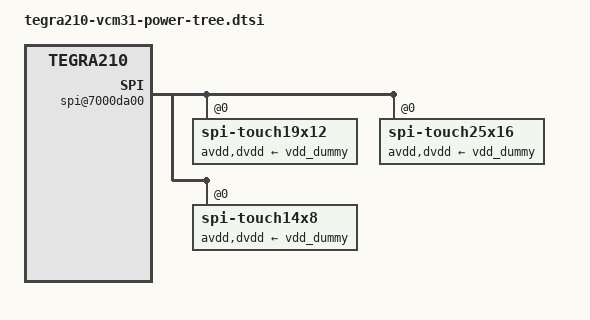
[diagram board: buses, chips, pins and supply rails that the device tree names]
/*
 * Copyright (c) 2015, NVIDIA CORPORATION.  All rights reserved.
 *
 * This program is free software; you can redistribute it and/or modify
 * it under the terms of the GNU General Public License as published by
 * the Free Software Foundation; either version 2 of the License, or
 * (at your option) any later version.
 *
 * This program is distributed in the hope that it will be useful, but WITHOUT
 * ANY WARRANTY; without even the implied warranty of MERCHANTABILITY or
 * FITNESS FOR A PARTICULAR PURPOSE.  See the GNU General Public License for
 * more details.
 *
 * You should have received a copy of the GNU General Public License along
 * along with this program. If not, see <http://www.gnu.org/licenses/>.
 */

#include "tegra210-vcm31-pmic.dtsi"

/ {

	efuse@7000f800 {
		vpp_fuse-supply = <&vdd_dummy>;
	};

	host1x {
		/* tegradc.0 */
		dc@54200000 {
			avdd_hdmi-supply = <&vdd_dummy>;
			avdd_hdmi_pll-supply = <&vdd_dummy>;
			vdd_hdmi_5v0-supply = <&vdd_dummy>;
			avdd_dsi_csi-supply = <&vdd_dummy>;
		};

		vi {
			avdd_dsi_csi-supply = <&vdd_dummy>;
		};
	};

	sound {
		ldoen-supply = <&vdd_dummy>;
		spkvdd-supply = <&vdd_dummy>;
		dbvdd-supply = <&vdd_dummy>;
		dmicvdd-supply = <&vdd_dummy>;
	};

	xusb@70090000 {
		usb_vbus0-supply = <&vdd_dummy>;
		usb_vbus1-supply = <&vdd_dummy>;
		usb_vbus2-supply = <&vdd_dummy>;
		usb_vbus3-supply = <&vdd_dummy>;
		hvdd_usb-supply = <&vdd_dummy>;
		avdd_pll_utmip-supply = <&vdd_dummy>;
		vddio_hsic-supply = <&vdd_dummy>;
		avddio_usb-supply = <&vdd_dummy>;
		dvdd_sata-supply = <&vdd_dummy>;
		avddio_pll_uerefe-supply = <&vdd_dummy>;
	};

	xudc@700d0000 {
		usb_vbus0-supply = <&vdd_dummy>;
		hvdd_usb-supply = <&vdd_dummy>;
		avdd_pll_utmip-supply = <&vdd_dummy>;
		avddio_usb-supply = <&vdd_dummy>;
		avddio_pll_uerefe-supply = <&vdd_dummy>;
	};

	xotg {
		usb_vbus-supply = <&vdd_dummy>;
	};

	xusb_padctl {
		avdd_pll_uerefe-supply = <&spmic_ldo7>;
		hvdd_pex_pll_e-supply = <&spmic_sd2>;
		dvdd_pex_pll-supply = <&spmic_ldo7>;
		hvddio_pex-supply = <&spmic_sd2>;
		dvddio_pex-supply = <&spmic_ldo7>;
		hvdd_sata-supply = <&spmic_sd2>;
		dvdd_sata_pll-supply = <&spmic_ldo7>;
		hvddio_sata-supply = <&spmic_ldo7>;
		dvddio_sata-supply = <&spmic_sd2>;
	};

	sdhci@700b0600 {
		vddio_sdmmc-supply = <&vdd_dummy_1v8>;
	};

	sdhci@700b0400 {
		vddio_sdmmc-supply = <&max20024_ldo5>;
		vddio_sd_slot-supply = <&en_vdd_sdcard3>;
	};

	sdhci@700b0000 {
		vddio_sdmmc-supply = <&max20024_ldo3>;
		vddio_sd_slot-supply = <&en_vdd_sdcard1>;
	};

	sata@70020000 {
		hvdd_sata-supply = <&vdd_dummy>;
		hvdd_pex_pll_e-supply = <&vdd_dummy>;
		l0_hvddio_sata-supply = <&vdd_dummy>;
		l0_dvddio_sata-supply = <&vdd_dummy>;
		dvdd_sata_pll-supply = <&vdd_dummy>;
	};

	pcie-controller@1003000 {
		dvdd-pex-pll-supply = <&vdd_dummy>;
		l0-dvddio-pex-supply = <&vdd_dummy>;
		l1-dvddio-pex-supply = <&vdd_dummy>;
		l2-dvddio-pex-supply = <&vdd_dummy>;
		l3-dvddio-pex-supply = <&vdd_dummy>;
		l4-dvddio-pex-supply = <&vdd_dummy>;
		l5-dvddio-pex-supply = <&vdd_dummy>;
		l6-dvddio-pex-supply = <&vdd_dummy>;
		hvdd-pex-pll-e-supply = <&vdd_dummy>;
		l0-hvddio-pex-supply = <&vdd_dummy>;
		l1-hvddio-pex-supply = <&vdd_dummy>;
		l2-hvddio-pex-supply = <&vdd_dummy>;
		l3-hvddio-pex-supply = <&vdd_dummy>;
		l4-hvddio-pex-supply = <&vdd_dummy>;
		l5-hvddio-pex-supply = <&vdd_dummy>;
		l6-hvddio-pex-supply = <&vdd_dummy>;
		vddio-pex-ctl-supply = <&vdd_dummy>;
	};

	ehci@7d004000 {
		avdd_usb-supply = <&vdd_3v3>;
		avdd_pll_utmip-supply = <&vdd_dummy>;
		vddio_hsic-supply = <&vdd_dummy>;
	};

	tegra-supply-tests {
		vdd-core-supply=<&vdd_dummy>;
	};

	spi@7000da00 {
		spi-touch19x12@0 {
			avdd-supply = <&vdd_dummy>;
			dvdd-supply = <&vdd_dummy>;
		};
		spi-touch25x16@0 {
			avdd-supply = <&vdd_dummy>;
			dvdd-supply = <&vdd_dummy>;
		};
		spi-touch14x8@0 {
			avdd-supply = <&vdd_dummy>;
			dvdd-supply = <&vdd_dummy>;
		};
	};

	pmc-iopower {
		iopower-sys-supply = <&vdd_dummy>;
		iopower-uart-supply = <&vdd_dummy>;
		iopower-audio-supply = <&vdd_dummy>;
		iopower-cam-supply = <&vdd_dummy>;
		iopower-pex-ctrl-supply = <&vdd_dummy>;
		iopower-sdmmc1-supply = <&vdd_dummy>;
		iopower-sdmmc3-supply = <&vdd_dummy>;
		iopower-sdmmc4-supply = <&vdd_dummy>;
		iopower-audio-hv-supply = <&vdd_dummy>;
		iopower-debug-supply = <&vdd_dummy>;
		iopower-dmic-supply = <&vdd_dummy>;
		iopower-gpio-supply = <&vdd_dummy>;
		iopower-spi-supply = <&vdd_dummy>;
		iopower-spi-hv-supply = <&vdd_dummy>;
		iopower-sdmmc2-supply = <&vdd_dummy>;
		iopower-dp-supply = <&vdd_dummy>;
	};

	pwm-fan {
		vdd-fan-supply = <&vdd_dummy>;
	};
};
